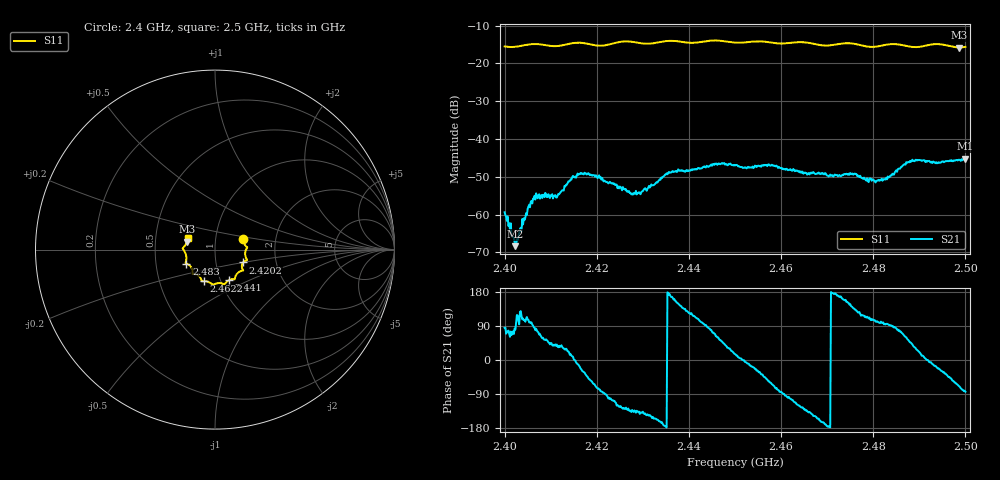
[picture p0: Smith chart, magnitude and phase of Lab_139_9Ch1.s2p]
# Hz S RI R 50
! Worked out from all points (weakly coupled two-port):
!   601 points, 2.4 GHz to 2.5 GHz, reference 50 ohm
!   highest |S21| = -45.18 dB at 2.5 GHz (marker M1); lowest = -68.4 dB at 2.4023 GHz (marker M2)
!   lowest |S11| = -15.8 dB at 2.4987 GHz (marker M3), VSWR 1.39, Z = 36.4 + j3.3 ohm
!   |S11| at or under -10 dB: start of sweep to end of sweep
!   S12 and S22 are empty: the file has one direction only
!   S11 on the Smith chart (normalised r, x): 2.4 GHz: 1.36, +0.17; 2.4202 GHz: 1.35, -0.20; 2.441 GHz: 1.10, -0.39; 2.4622 GHz: 0.83, -0.30; 2.483 GHz: 0.72, -0.12; 2.5 GHz: 0.73, +0.09
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2.4e9  0.1564 0.0601  9.47e-05 0.00107  0 0  0 0
2.402333e9  0.1621 0.0327  6.6e-05 0.000376  0 0  0 0
2.406333e9  0.1799 0.013  0.000102 0.00159  0 0  0 0
2.411e9  0.1678 -0.0188  0.00136 0.00119  0 0  0 0
2.414333e9  0.1757 -0.0519  0.00281 0.000771  0 0  0 0
2.416667e9  0.1775 -0.0584  0.00314 -0.00146  0 0  0 0
2.420167e9  0.156 -0.0718  0.000804 -0.00293  0 0  0 0
2.427833e9  0.1522 -0.1175  -0.0013 -0.0013  0 0  0 0
2.433333e9  0.1129 -0.1523  -0.00257 -0.000994  0 0  0 0
2.436e9  0.1108 -0.1651  -0.00353 0.000711  0 0  0 0
2.441e9  0.0769 -0.1704  -0.00174 0.00355  0 0  0 0
2.446167e9  0.0514 -0.194  0.00229 0.00393  0 0  0 0
2.45e9  0.0266 -0.1861  0.00429 0.00121  0 0  0 0
2.462167e9  -0.063 -0.1763  -0.000892 -0.0038  0 0  0 0
2.466667e9  -0.0765 -0.167  -0.00278 -0.00213  0 0  0 0
2.475833e9  -0.1255 -0.1315  -0.00246 0.00241  0 0  0 0
2.4805e9  -0.1401 -0.089  -0.00053 0.0026  0 0  0 0
2.483e9  -0.1592 -0.0778  -0.000281 0.00291  0 0  0 0
2.483333e9  -0.1608 -0.0771  -0.000183 0.00309  0 0  0 0
2.488167e9  -0.1592 -0.0461  0.00349 0.00357  0 0  0 0
2.498667e9  -0.1559 0.0442  0.00187 -0.00497  0 0  0 0
2.5e9  -0.1529 0.0628  0.000606 -0.00547  0 0  0 0
